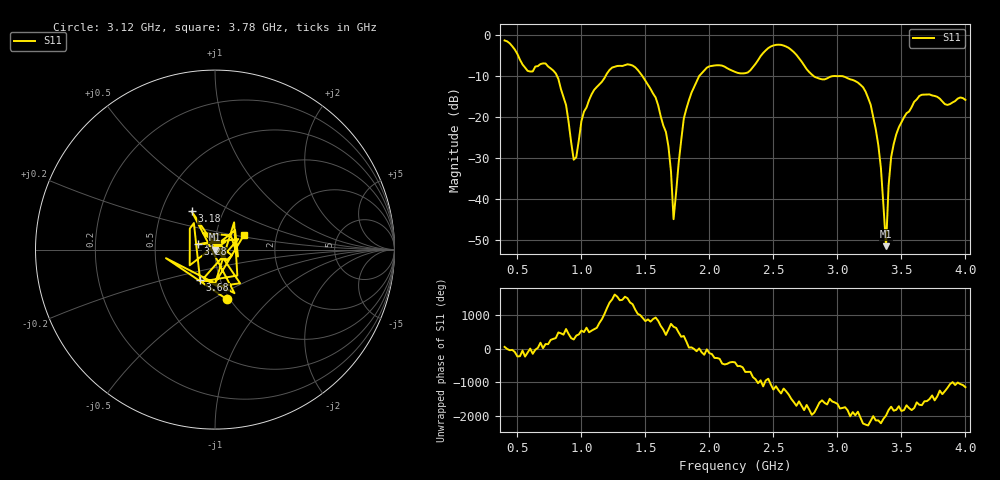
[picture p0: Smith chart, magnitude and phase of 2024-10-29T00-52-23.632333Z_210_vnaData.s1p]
!Created with skrf (http://scikit-rf.org).
# Hz S RI R 50.0
!freq ReS11 ImS11
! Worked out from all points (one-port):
!   181 points, 400 MHz to 4 GHz, reference 50 ohm
!   lowest |S11| = -51.4 dB at 3.38 GHz (marker M1), VSWR 1.01, Z = 49.7 - j0.00194 ohm
!   |S11| at or under -10 dB: 810.9 MHz to 1.187 GHz (376.3 MHz wide, 37.7 % of centre); 1.478 GHz to 1.919 GHz (440.3 MHz wide, 25.9 % of centre); 3.046 GHz to end of sweep (the widest 3 of 4)
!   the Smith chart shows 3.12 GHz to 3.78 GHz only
!   S11 on the Smith chart (normalised r, x): 3.12 GHz: 0.97, -0.59; 3.18 GHz: 0.71, +0.32; 3.28 GHz: 0.82, +0.05; 3.68 GHz: 0.80, -0.28; 3.78 GHz: 1.36, +0.22
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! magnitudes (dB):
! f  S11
! 400 MHz  -1.2
! 580 MHz  -8.6
! 780 MHz  -8.6
! 860 MHz  -15.1
! 940 MHz  -30.3
! 1.08 GHz  -14.4
! 1.3 GHz  -7.4
! 1.58 GHz  -15.2
! 1.68 GHz  -27.1
! 1.72 GHz  -44.8
! 1.76 GHz  -31.0
! 1.8 GHz  -20.3
! 1.92 GHz  -9.9
! 2.2 GHz  -8.9
! 2.66 GHz  -4.1
! 2.82 GHz  -10.1
! 3.1 GHz  -10.7
! 3.12 GHz  -10.9
! 3.18 GHz  -12.0
! 3.28 GHz  -19.9
! 3.34 GHz  -32.4
! 3.38 GHz  -51.4
! 3.4 GHz  -36.6
! 3.42 GHz  -29.7
! 3.56 GHz  -18.6
! 3.68 GHz  -14.4
! 3.78 GHz  -15.0
! 4 GHz  -15.7
